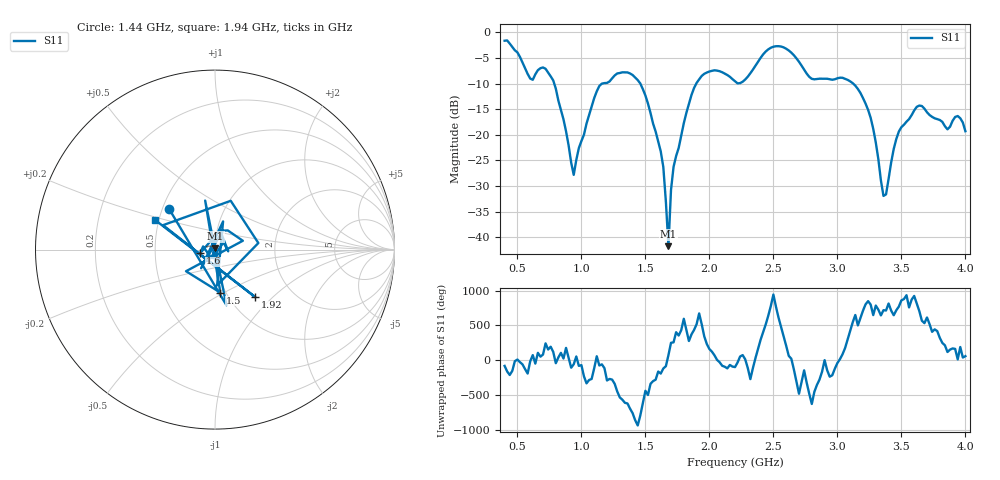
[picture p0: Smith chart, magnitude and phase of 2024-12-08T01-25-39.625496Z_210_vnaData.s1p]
!Created with skrf (http://scikit-rf.org).
# Hz S RI R 50.0
!freq ReS11 ImS11
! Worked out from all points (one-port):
!   181 points, 400 MHz to 4 GHz, reference 50 ohm
!   lowest |S11| = -41.8 dB at 1.68 GHz (marker M1), VSWR 1.02, Z = 50.3 + j0.773 ohm
!   |S11| at or under -10 dB: 787.5 MHz to 1.164 GHz (376.7 MHz wide, 38.6 % of centre); 1.46 GHz to 1.898 GHz (437.8 MHz wide, 26.1 % of centre); 3.122 GHz to end of sweep
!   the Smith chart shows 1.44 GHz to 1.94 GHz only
!   S11 on the Smith chart (normalised r, x): 1.44 GHz: 0.54, +0.28; 1.5 GHz: 0.94, -0.48; 1.6 GHz: 0.85, -0.04; 1.92 GHz: 1.31, -0.79; 1.94 GHz: 0.47, +0.18
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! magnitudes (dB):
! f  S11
! 400 MHz  -1.6
! 600 MHz  -9.0
! 720 MHz  -7.1
! 860 MHz  -17.0
! 940 MHz  -27.8
! 1.12 GHz  -11.5
! 1.3 GHz  -7.9
! 1.44 GHz  -9.3
! 1.5 GHz  -12.3
! 1.6 GHz  -21.3
! 1.64 GHz  -26.3
! 1.68 GHz  -41.8
! 1.7 GHz  -30.8
! 1.76 GHz  -22.6
! 1.92 GHz  -9.2
! 1.94 GHz  -8.5
! 2.2 GHz  -9.6
! 2.48 GHz  -3.0
! 2.66 GHz  -4.5
! 2.8 GHz  -9.1
! 3.1 GHz  -9.6
! 3.26 GHz  -16.7
! 3.36 GHz  -32.0
! 3.46 GHz  -20.9
! 3.56 GHz  -16.9
! 3.66 GHz  -14.4
! 3.94 GHz  -16.4
! 4 GHz  -19.3
